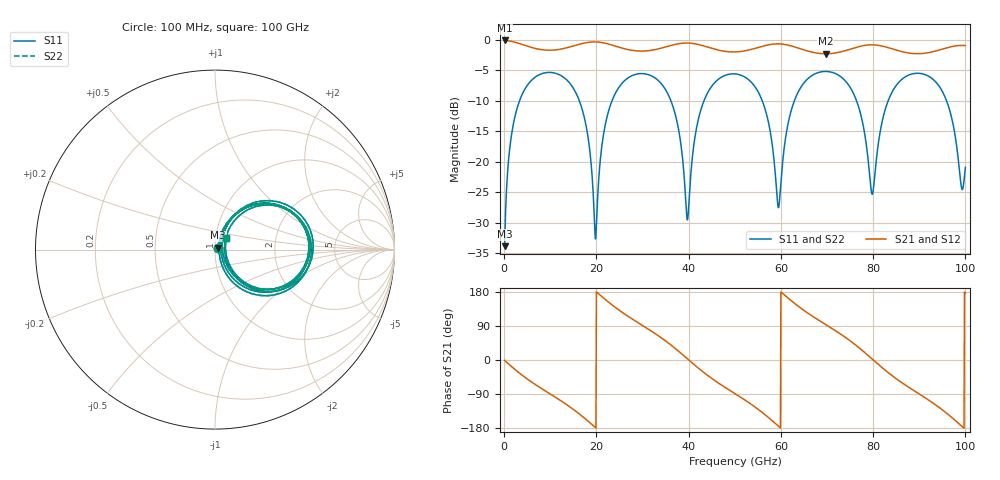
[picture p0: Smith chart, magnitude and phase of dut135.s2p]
! Touchstone file exported from HFSS 2026.1.0
!  File:  C:/ffzhzh/LocalFiles/Ansys_Project_Files/temp_train_TSV_RDL_135_1783461245_7600.aedt
!  Generated:  06:08:43 AM Jul  8, 2026
!  Design:  TSV_RDL
!  Project:  temp_train_TSV_RDL_135_1783461245_7600
! Variables:
!  h_bsmrdl = 3.41um
!  h_ox = 20um
!  h_rdl = 5um
!  h_sub = 71.82um
!  h_tmrdl = 3.45um
!  h_tsv = 71.82um
!  h_via = 3um
!  l_bsmrdl = 132.77um
!  l_sub = 3053.18um
!  l_tmrdl = 538.06um
!  m_sub = 200um
!  pitch = 43.63um
!  r_tsv = 5.05um
!  s_tmrdl = 10um
!  w_bsmrdl = 13.77um
!  w_sub = 500um
!  w_tmrdl = 20.44um
!  x_tsv_center1 = 548.28um
!  x_tsv_center2 = 694.82um
!  x_tsv_center3 = 1253.32um
!  x_tsv_center4 = 1399.86um
!  x_tsv_center5 = 1958.36um
!  x_tsv_center6 = 2104.9um
# GHz S MA R 50.000000
! Terminal data exported
! Port[1] = TM_RDL1_1_T1
! Port[2] = TM_RDL5_1_T1
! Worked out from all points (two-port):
!   1000 points, 100 MHz to 100 GHz, reference 50 ohm
!   highest |S21| = -0.15 dB at 100 MHz (marker M1); lowest = -2.3 dB at 69.7 GHz (marker M2)
!   |S21| within 3 dB of the highest: start of sweep to end of sweep
!   lowest |S11| = -33.9 dB at 100 MHz (marker M3), VSWR 1.04, Z = 51.7 + j1.14 ohm
!   |S11| at or under -10 dB: 16.28 GHz to 23.4 GHz (7.12 GHz wide, 35.9 % of centre); 36.14 GHz to 43.34 GHz (7.206 GHz wide, 18.1 % of centre); 55.94 GHz to 62.94 GHz (6.998 GHz wide, 11.8 % of centre) (the widest 3 of 6)
!   |S22| runs from -33.9 to -5.2 dB; largest |S21 - S12| = 3.9e-13
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0.1  0.02026 33.1  0.9832 -1.1  0.9832 -1.1  0.02026 33.1
! Gamma 0 0 0 0
! Port Impedance 50 0 50 0
1.7  0.1753 64.9  0.9638 -18.3  0.9638 -18.3  0.1753 64.9
4.8  0.4098 38.5  0.8884 -48.3  0.8884 -48.3  0.4098 38.5
10.5  0.5355 -5.1  0.8195 -93.6  0.8195 -93.6  0.5355 -5.1
16.8  0.2772 -54.8  0.9252 -147.2  0.9252 -147.2  0.2772 -54.8
19.8  0.02321 -2.5  0.9559 -178.2  0.9559 -178.2  0.02331 -2.5
23.8  0.3429 47.2  0.8912 141.5  0.8912 141.5  0.3429 47.1
33.4  0.462 -25.0  0.838 64.2  0.838 64.2  0.4621 -25.0
37.3  0.2271 -55.2  0.9166 28.4  0.9166 28.4  0.2271 -55.2
39.7  0.03322 -2.3  0.937 3.5  0.937 3.5  0.03308 -2.5
43.1  0.2991 52.5  0.89 -31.2  0.89 -31.2  0.299 52.5
50.1  0.5228 0.3  0.7922 -89.2  0.7922 -89.2  0.5227 0.2
56.2  0.2975 -45.1  0.8847 -140.8  0.8847 -140.8  0.2974 -45.3
59.5  0.04188 8.4  0.922 -174.9  0.922 -174.9  0.04057 8.4
62.2  0.2591 57.9  0.8879 157.0  0.8879 157.0  0.2588 58.2
66.7  0.5061 24.3  0.7894 116.8  0.7894 116.8  0.506 24.4
69.7  0.5479 3.2  0.7647 93.7  0.7647 93.7  0.5478 3.4
76.2  0.3296 -43.5  0.8597 39.6  0.8597 39.6  0.3297 -43.4
79.8  0.05384 1.6  0.9058 2.4  0.9058 2.4  0.0541 1.6
83.4  0.325 47.0  0.8551 -34.7  0.8551 -34.7  0.3249 47.0
92.9  0.4749 -20.7  0.7941 -113.0  0.7941 -113.0  0.4748 -20.6
100  0.08966 45.3  0.8919 176.8  0.8919 176.8  0.08972 45.5
